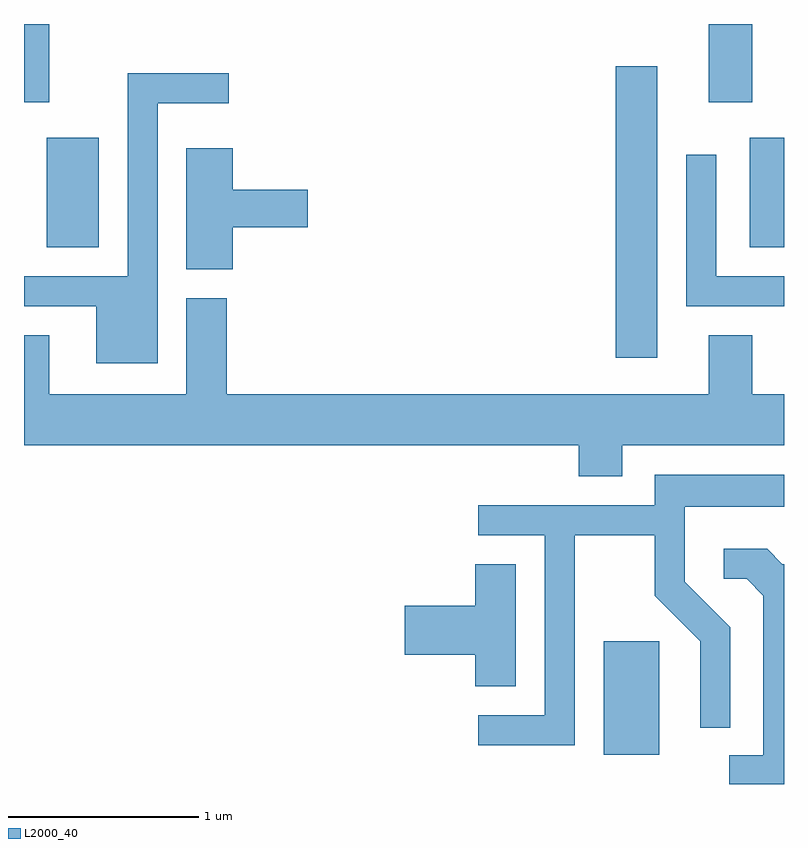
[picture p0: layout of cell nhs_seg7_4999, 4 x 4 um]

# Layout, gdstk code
import gdstk
lib = gdstk.Library(unit=1e-6, precision=1e-09)
def R(c, l, rs):  # rectangles x0, y0, x1, y1
    for r in rs: c.add(gdstk.rectangle(r[:2], r[2:], *l))
def P(c, l, *ps):  # polygons
    for p in ps: c.add(gdstk.Polygon(p, *l))
L2000_40 = (2000, 40)

nhs_seg7_4999 = lib.new_cell('nhs_seg7_4999')
R(nhs_seg7_4999, L2000_40, [(340.661,1770.406,340.954,1771.004), (340.726,1772.496,340.944,1774.029), (337.731,1773.076,338.004,1773.654), (341.431,1773.076,341.611,1773.654), (337.611,1773.841,337.744,1774.252), (341.216,1773.841,341.444,1774.252)])
P(nhs_seg7_4999, L2000_40, [(338.314,1773.836),(338.688,1773.836),(338.688,1773.994),(338.156,1773.994),(338.156,1772.924),(337.611,1772.924),(337.611,1772.766),(337.991,1772.766),(337.991,1772.466),(338.314,1772.466)],
  [(338.709,1773.181),(339.104,1773.181),(339.104,1773.379),(338.709,1773.379),(338.709,1773.599),(338.466,1773.599),(338.466,1772.961),(338.709,1772.961)],
  [(341.611,1772.924),(341.254,1772.924),(341.254,1773.563),(341.096,1773.563),(341.096,1772.766),(341.611,1772.766)],
  [(340.759,1772.036),(341.611,1772.036),(341.611,1772.304),(341.444,1772.304),(341.444,1772.614),(341.216,1772.614),(341.216,1772.304),(338.679,1772.304),(338.679,1772.809),(338.466,1772.809),(338.466,1772.304),(337.744,1772.304),(337.744,1772.614),(337.611,1772.614),(337.611,1772.036),(340.531,1772.036),(340.531,1771.871),(340.759,1771.871)],
  [(340.509,1771.561),(340.931,1771.561),(340.931,1771.244),(341.171,1771.004),(341.171,1770.548),(341.329,1770.548),(341.329,1771.077),(341.089,1771.317),(341.089,1771.711),(341.611,1771.711),(341.611,1771.879),(340.931,1771.879),(340.931,1771.719),(340.003,1771.719),(340.003,1771.561),(340.351,1771.561),(340.351,1770.614),(340.003,1770.614),(340.003,1770.456),(340.509,1770.456)],
  [(341.611,1771.409),(341.602,1771.409),(341.522,1771.489),(341.293,1771.489),(341.293,1771.331),(341.414,1771.331),(341.501,1771.244),(341.501,1770.404),(341.323,1770.404),(341.323,1770.252),(341.611,1770.252)],
  [(340.199,1771.409),(339.986,1771.409),(339.986,1771.189),(339.616,1771.189),(339.616,1770.931),(339.986,1770.931),(339.986,1770.766),(340.199,1770.766)])

lib.write_gds('nhs_seg7_4999.gds')
